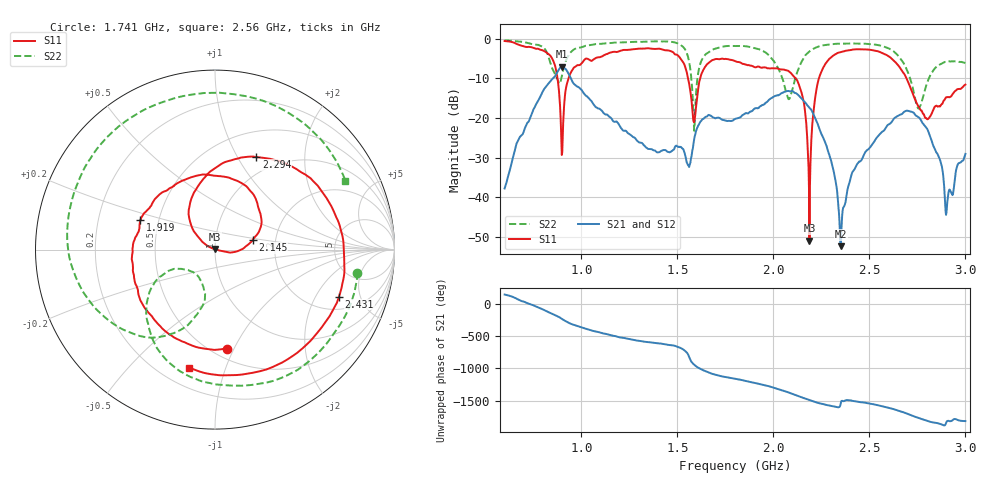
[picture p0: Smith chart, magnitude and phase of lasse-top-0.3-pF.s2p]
#  HZ  S  RI  R  50.00
! Rohde & Schwarz ZVB8 2Ports - Version 2.81 - 1145.1010k08 SN: 100113
! Date: 2016-03-31 03:30:00
! Measurements: S11 S21 S12 S22
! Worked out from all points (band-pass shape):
!   1000 points, 600 MHz to 3 GHz, reference 50 ohm
!   highest |S21| = -7.00 dB at 900.3 MHz (marker M1); lowest = -52.4 dB at 2.351 GHz (marker M2)
!   |S21| within 3 dB of the highest: 851.3 MHz to 945.4 MHz (94.06 MHz wide, 10.5 % of centre)
!   lowest |S11| = -51.0 dB at 2.188 GHz (marker M3), VSWR 1.01, Z = 50 + j0.28 ohm
!   |S11| at or under -10 dB: 1.556 GHz to 1.618 GHz (62.66 MHz wide, 3.95 % of centre); 2.117 GHz to 2.237 GHz (120.2 MHz wide, 5.52 % of centre); 2.694 GHz to end of sweep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
!   |S22| runs from -23.2 to -0.4 dB; largest |S21 - S12| = 0.0018
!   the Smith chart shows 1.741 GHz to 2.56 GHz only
!   S11 on the Smith chart (normalised r, x): 1.741 GHz: 0.59, -0.94; 1.919 GHz: 0.39, +0.16; 2.145 GHz: 1.52, +0.17; 2.294 GHz: 0.79, +1.20; 2.431 GHz: 2.76, -3.19; 2.56 GHz: 0.31, -0.75
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6e8  0.0561 0.9378  -0.0114 0.00608  -0.0114 0.00595  -0.1053 0.9489
7.60961e8  0.7485 0.0816  0.1236 -0.0744  0.1225 -0.0742  0.8113 0.239
9.003003e8  0.0358 -0.00953  -0.2787 0.3492  -0.279 0.3488  0.3603 0.0292
1.001201e9  0.3064 -0.384  0.2252 -0.0037  0.225 -0.00335  0.4605 -0.6345
1.215015e9  -0.7205 0.0304  -0.0671 -0.0204  -0.0671 -0.0203  -0.8961 -0.1328
1.4e9  0.3253 0.679  -0.0135 0.0343  -0.0136 0.0343  -0.0802 0.9267
1.522523e9  0.5009 -0.1948  0.0361 0.0208  0.036 0.0208  0.7565 0.3122
1.587387e9  0.0863 -0.0175  -0.0403 0.0351  -0.0403 0.0351  0.0639 0.0257
1.741141e9  0.067 -0.5529  0.0611 -0.0715  0.061 -0.0715  0.7915 -0.1288
1.801201e9  -0.3146 -0.4175  0.0143 -0.0965  0.0142 -0.0965  0.6566 -0.4763
1.918919e9  -0.4165 0.164  -0.1224 -0.051  -0.1224 -0.0509  -0.026 -0.744
2.144745e9  0.2094 0.0536  0.1759 -0.0258  0.176 -0.0254  -0.2103 -0.4562
2.187988e9  0.000336 0.0028  0.0831 -0.1058  0.083 -0.1058  -0.5485 -0.4247
2.2e9  -0.0584 0.0333  0.0516 -0.1124  0.0516 -0.1123  -0.6317 -0.3604
2.293694e9  0.2304 0.5156  -0.0251 -0.0207  -0.0251 -0.0208  -0.7706 0.3566
2.351351e9  0.6127 0.2996  -0.000271 -0.00238  -0.000241 -0.00236  -0.5089 0.707
2.430631e9  0.6904 -0.2623  0.0069 -0.0236  0.0069 -0.0237  0.0242 0.874
2.56036e9  -0.1471 -0.6569  -0.0533 -0.0369  -0.0532 -0.0369  0.7257 0.3819
2.601201e9  -0.4209 -0.4302  -0.0828 -0.00622  -0.0829 -0.00643  0.7505 0.0921
2.754955e9  0.0757 0.1178  0.0885 0.0517  0.0886 0.0513  0.1264 -0.0371
2.903904e9  -0.1772 -0.0445  0.00705 -0.00302  0.007 -0.00303  0.4685 -0.2234
3e9  -0.1339 0.2275  0.0328 -0.0126  0.0329 -0.0126  0.2316 -0.438
